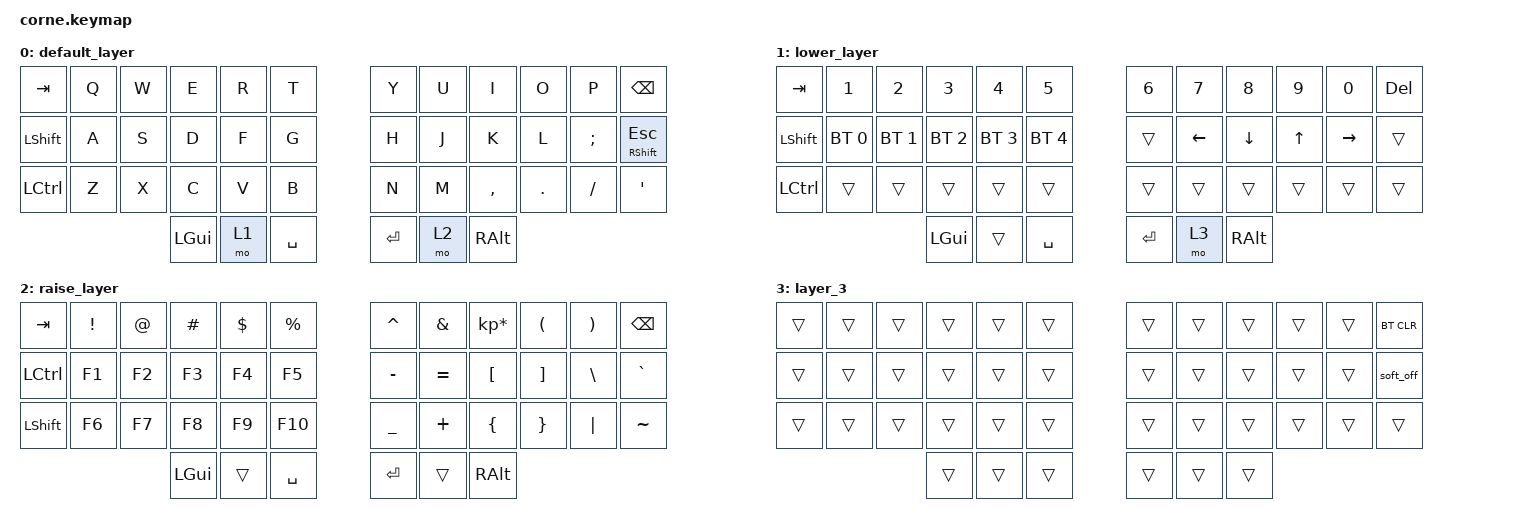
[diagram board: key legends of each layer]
/*
 * Copyright (c) 2020 The ZMK Contributors
 *
 * SPDX-License-Identifier: MIT
 */

#include <behaviors.dtsi>
#include <dt-bindings/zmk/bt.h>
#include <dt-bindings/zmk/keys.h>

/ {
    combos { compatible = "zmk,combos"; };

    keymap {
        compatible = "zmk,keymap";

        default_layer {
            // -----------------------------------------------------------------------------------------
            // |  TAB |  Q  |  W  |  E  |  R  |  T  |   |  Y  |  U   |  I  |  O  |  P  | BKSP |
            // | CTRL |  A  |  S  |  D  |  F  |  G  |   |  H  |  J   |  K  |  L  |  ;  |  '   |
            // | SHFT |  Z  |  X  |  C  |  V  |  B  |   |  N  |  M   |  ,  |  .  |  /  | ESC  |
            //                    | GUI | LWR | SPC |   | ENT | RSE  | ALT |

            bindings = <
&kp TAB         &kp Q  &kp W  &kp E     &kp R  &kp T        &kp Y    &kp U  &kp I      &kp O    &kp P     &kp BSPC
&kp LEFT_SHIFT  &kp A  &kp S  &kp D     &kp F  &kp G        &kp H    &kp J  &kp K      &kp L    &kp SEMI  &mt RSHFT ESC
&kp LCTRL       &kp Z  &kp X  &kp C     &kp V  &kp B        &kp N    &kp M  &kp COMMA  &kp DOT  &kp FSLH  &kp SQT
                              &kp LGUI  &mo 1  &kp SPACE    &kp RET  &mo 2  &kp RALT
            >;
        };

        lower_layer {
            // -----------------------------------------------------------------------------------------
            // |  TAB |  1  |  2  |  3  |  4  |  5  |   |  6  |  7  |  8  |  9  |  0  | BKSP |
            // | BTCLR| BT1 | BT2 | BT3 | BT4 | BT5 |   | LFT | DWN |  UP | RGT |     |      |
            // | SHFT |     |     |     |     |     |   |     |     |     |     |     |      |
            //                    | GUI |     | SPC |   | ENT |     | ALT |

            bindings = <
&kp TAB     &kp N1        &kp N2        &kp N3        &kp N4        &kp N5          &kp N6   &kp N7    &kp N8    &kp N9  &kp N0     &kp DEL
&kp LSHIFT  &bt BT_SEL 0  &bt BT_SEL 1  &bt BT_SEL 2  &bt BT_SEL 3  &bt BT_SEL 4    &trans   &kp LEFT  &kp DOWN  &kp UP  &kp RIGHT  &trans
&kp LCTRL   &trans        &trans        &trans        &trans        &trans          &trans   &trans    &trans    &trans  &trans     &trans
                                        &kp LGUI      &trans        &kp SPACE       &kp RET  &mo 3     &kp RALT
            >;
        };

        raise_layer {
            // -----------------------------------------------------------------------------------------
            // |  TAB |  !  |  @  |  #  |  $  |  %  |   |  ^  |  &  |  *  |  (  |  )  | BKSP |
            // | CTRL |     |     |     |     |     |   |  -  |  =  |  [  |  ]  |  \  |  `   |
            // | SHFT |     |     |     |     |     |   |  _  |  +  |  {  |  }  | "|" |  ~   |
            //                    | GUI |     | SPC |   | ENT |     | ALT |

            bindings = <
&kp TAB    &kp EXCL  &kp AT  &kp HASH  &kp DLLR  &kp PRCNT    &kp CARET  &kp AMPS   &kp KP_MULTIPLY  &kp LPAR  &kp RPAR  &kp BSPC
&kp LCTRL  &kp F1    &kp F2  &kp F3    &kp F4    &kp F5       &kp MINUS  &kp EQUAL  &kp LBKT         &kp RBKT  &kp BSLH  &kp GRAVE
&kp LSHFT  &kp F6    &kp F7  &kp F8    &kp F9    &kp F10      &kp UNDER  &kp PLUS   &kp LBRC         &kp RBRC  &kp PIPE  &kp TILDE
                             &kp LGUI  &trans    &kp SPACE    &kp RET    &trans     &kp RALT
            >;
        };

        layer_3 {
            bindings = <
&trans  &trans  &trans  &trans  &trans  &trans    &trans  &trans  &trans  &trans  &trans  &bt BT_CLR
&trans  &trans  &trans  &trans  &trans  &trans    &trans  &trans  &trans  &trans  &trans  &soft_off
&trans  &trans  &trans  &trans  &trans  &trans    &trans  &trans  &trans  &trans  &trans  &trans
                        &trans  &trans  &trans    &trans  &trans  &trans
            >;
        };
    };
};
